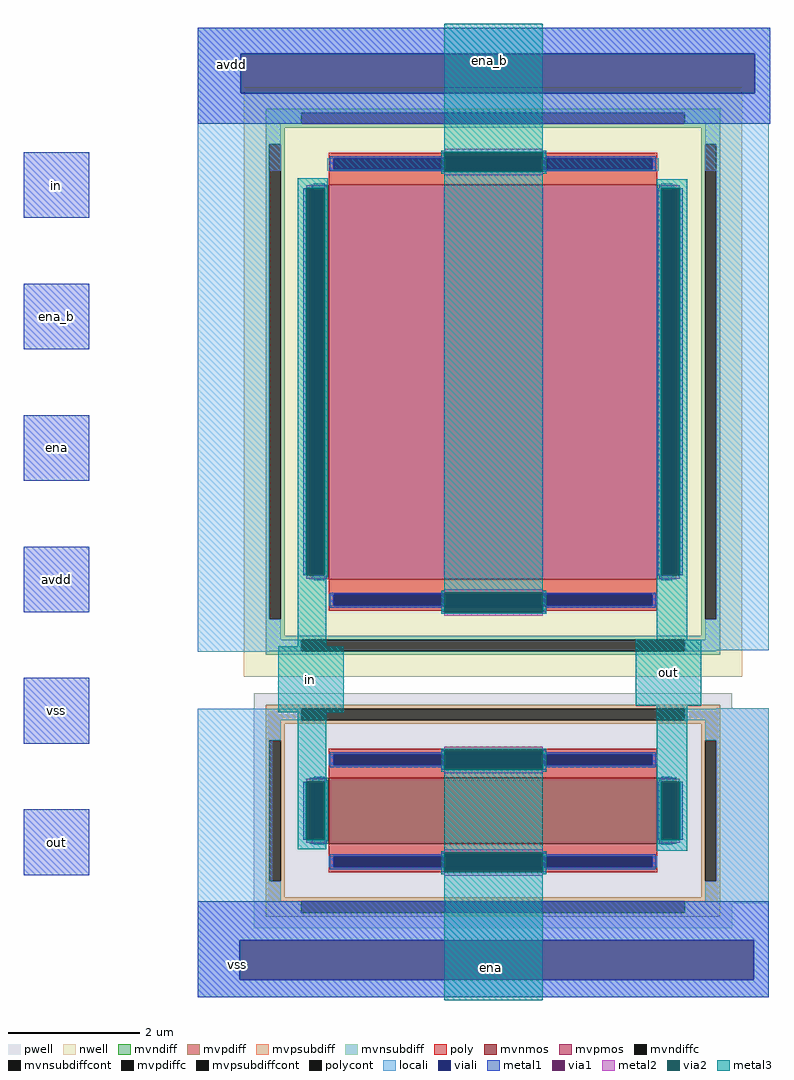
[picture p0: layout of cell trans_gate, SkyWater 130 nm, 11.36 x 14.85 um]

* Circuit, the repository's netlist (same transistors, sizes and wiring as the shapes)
** sch_path: /home/vblabs/sky130_vbl_ip__overvoltage/blocks/comp_hyst/xschem/trans_gate.sch
.subckt trans_gate in ena_b ena avdd vss out
*.PININFO avdd:B vss:B ena:I ena_b:I in:I out:O
XM1 in ena out vss sky130_fd_pr__nfet_g5v0d10v5 L=5 W=1 nf=1 m=1
XM2 in ena_b out avdd sky130_fd_pr__pfet_g5v0d10v5 L=5 W=6 nf=1 m=1
.ends
.end

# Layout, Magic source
magic
tech sky130A
magscale 1 2
<< nwell >>
rect 924 144 928 182
rect 1928 144 1932 182
rect 834 90 926 120
rect 918 -1304 920 -1150
<< pwell >>
rect 882 -1870 916 -1716
rect 876 -1874 924 -1870
rect 882 -1880 916 -1874
rect 860 -1892 920 -1880
rect 834 -1922 920 -1892
rect 2108 -2086 2268 -1492
<< mvndiffc >>
rect 882 -1892 916 -1716
<< locali >>
rect 530 500 2272 578
rect 530 380 660 500
rect 2224 380 2272 500
rect 530 286 2272 380
rect 530 144 782 286
rect 924 144 1932 182
rect 2074 144 2268 286
rect 530 -1320 748 144
rect 2108 -1316 2268 144
rect 530 -2080 756 -1494
rect 2108 -2080 2268 -1492
rect 530 -2198 2268 -2080
rect 530 -2318 658 -2198
rect 2222 -2318 2268 -2198
rect 530 -2372 2268 -2318
<< viali >>
rect 660 380 2224 500
rect 882 -1892 916 -1716
rect 658 -2318 2222 -2198
<< metal1 >>
rect 530 500 2272 578
rect 530 380 660 500
rect 2224 380 2272 500
rect 530 286 2272 380
rect 0 0 200 200
rect 1270 140 1280 200
rect 1580 140 1590 200
rect 0 -400 200 -200
rect 0 -800 200 -600
rect 0 -1200 200 -1000
rect 850 -1088 860 90
rect 916 -1088 926 90
rect 1930 -1088 1940 90
rect 1996 -1088 2006 90
rect 1270 -1200 1280 -1140
rect 1580 -1200 1590 -1140
rect 0 -1600 200 -1400
rect 1270 -1680 1280 -1620
rect 1580 -1680 1590 -1620
rect 0 -2000 200 -1800
rect 850 -1892 860 -1716
rect 916 -1892 926 -1716
rect 1930 -1892 1940 -1716
rect 1996 -1892 2006 -1716
rect 1270 -1992 1280 -1932
rect 1580 -1992 1590 -1932
rect 530 -2198 2268 -2080
rect 530 -2318 658 -2198
rect 2222 -2318 2268 -2198
rect 530 -2372 2268 -2318
<< via1 >>
rect 1280 140 1580 200
rect 860 -1088 916 90
rect 1940 -1088 1996 90
rect 1280 -1200 1580 -1140
rect 1280 -1680 1580 -1620
rect 860 -1892 882 -1716
rect 882 -1892 916 -1716
rect 1940 -1892 1996 -1716
rect 1280 -1992 1580 -1932
<< metal2 >>
rect 1280 200 1580 210
rect 1280 130 1580 140
rect 860 90 916 100
rect 860 -1098 916 -1088
rect 1940 90 1996 100
rect 1940 -1098 1996 -1088
rect 1280 -1140 1580 -1130
rect 1280 -1210 1580 -1200
rect 1280 -1620 1580 -1610
rect 1280 -1690 1580 -1680
rect 860 -1716 916 -1706
rect 860 -1902 916 -1892
rect 1940 -1716 1996 -1706
rect 1940 -1902 1996 -1892
rect 1280 -1932 1580 -1922
rect 1280 -2002 1580 -1992
<< via2 >>
rect 1280 140 1580 200
rect 860 -1088 916 90
rect 1940 -1088 1996 90
rect 1280 -1200 1580 -1140
rect 1280 -1680 1580 -1620
rect 860 -1892 916 -1716
rect 1940 -1892 1996 -1716
rect 1280 -1992 1580 -1932
<< metal3 >>
rect 1280 205 1580 590
rect 1270 200 1590 205
rect 1270 140 1280 200
rect 1580 140 1590 200
rect 1270 135 1590 140
rect 834 90 926 120
rect 834 -1088 860 90
rect 916 -1088 926 90
rect 834 -1093 926 -1088
rect 834 -1304 920 -1093
rect 1280 -1135 1580 135
rect 1926 90 2020 118
rect 1926 -1088 1940 90
rect 1996 -1088 2020 90
rect 1270 -1140 1590 -1135
rect 1270 -1200 1280 -1140
rect 1580 -1200 1590 -1140
rect 1270 -1205 1590 -1200
rect 1926 -1284 2020 -1088
rect 774 -1504 974 -1304
rect 1862 -1484 2062 -1284
rect 834 -1711 920 -1504
rect 1270 -1620 1590 -1615
rect 1270 -1680 1280 -1620
rect 1580 -1680 1590 -1620
rect 1270 -1685 1590 -1680
rect 834 -1716 926 -1711
rect 834 -1892 860 -1716
rect 916 -1892 926 -1716
rect 834 -1897 926 -1892
rect 834 -1922 920 -1897
rect 1280 -1927 1580 -1685
rect 1926 -1716 2020 -1484
rect 1926 -1892 1940 -1716
rect 1996 -1892 2020 -1716
rect 1926 -1926 2020 -1892
rect 1270 -1932 1590 -1927
rect 1270 -1992 1280 -1932
rect 1580 -1992 1590 -1932
rect 1270 -1997 1590 -1992
rect 1280 -2380 1580 -1997
use sky130_fd_pr__nfet_g5v0d10v5_69BJMM  XM1
transform 1 0 1428 0 1 -1804
box -728 -358 728 358
use sky130_fd_pr__pfet_g5v0d10v5_E7V9VM  XM2
transform 1 0 1428 0 1 -499
box -758 -897 758 897
<< labels >>
flabel metal1 552 -2372 752 -2172 0 FreeSans 256 0 0 0 vss
port 4 nsew
flabel metal1 532 368 732 568 0 FreeSans 256 0 0 0 avdd
port 3 nsew
flabel metal3 774 -1504 974 -1304 0 FreeSans 256 0 0 0 in
port 0 nsew
flabel metal3 1862 -1484 2062 -1284 0 FreeSans 256 0 0 0 out
port 5 nsew
flabel metal3 1320 -2380 1520 -2180 0 FreeSans 256 0 0 0 ena
port 2 nsew
flabel metal3 1318 380 1518 580 0 FreeSans 256 0 0 0 ena_b
port 1 nsew
flabel metal1 0 0 200 200 0 FreeSans 256 0 0 0 in
flabel metal1 0 -400 200 -200 0 FreeSans 256 0 0 0 ena_b
flabel metal1 0 -800 200 -600 0 FreeSans 256 0 0 0 ena
flabel metal1 0 -1200 200 -1000 0 FreeSans 256 0 0 0 avdd
flabel metal1 0 -1600 200 -1400 0 FreeSans 256 0 0 0 vss
flabel metal1 0 -2000 200 -1800 0 FreeSans 256 0 0 0 out
<< end >>

# cell sky130_fd_pr__nfet_g5v0d10v5_69BJMM: kit device sky130_fd_pr__nfet_g5v0d10v5, w 1.0 l 5.0 m 1 nf 1 diffcov 100 polycov 100 guard 1 glc 1 grc 1 gtc 1 gbc 1 tbcov 100 rlcov 100 topc 1 botc 1 poverlap 0 doverlap 1 lmin 0.50 wmin 0.42 compatible {sky130_fd_pr__nfet_01v8 sky130_fd_pr__nfet_01v8_lvt sky130_fd_bs_flash__special_sonosfet_star sky130_fd_pr__nfet_g5v0d10v5 sky130_fd_pr__nfet_05v0_nvt sky130_fd_pr__nfet_03v3_nvt} full_metal 1 viasrc 100 viadrn 100 viagate 100 viagb 0 viagr 0 viagl 0 viagt 0

# cell sky130_fd_pr__pfet_g5v0d10v5_E7V9VM: kit device sky130_fd_pr__pfet_g5v0d10v5, w 6.0 l 5.0 m 1 nf 1 diffcov 100 polycov 100 guard 1 glc 1 grc 1 gtc 1 gbc 1 tbcov 100 rlcov 100 topc 1 botc 1 poverlap 0 doverlap 1 lmin 0.50 wmin 0.42 compatible {sky130_fd_pr__pfet_01v8 sky130_fd_pr__pfet_01v8_lvt sky130_fd_pr__pfet_01v8_hvt sky130_fd_pr__pfet_g5v0d10v5} full_metal 1 viasrc 100 viadrn 100 viagate 100 viagb 0 viagr 0 viagl 0 viagt 0
